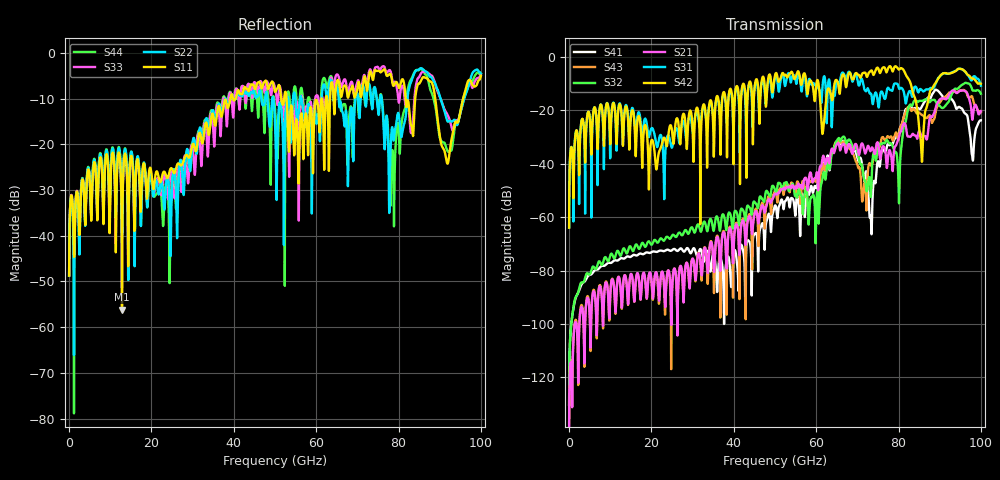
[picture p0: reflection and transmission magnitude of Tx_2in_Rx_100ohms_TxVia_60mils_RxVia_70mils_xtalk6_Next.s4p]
! Info: Touchstone file created by Circ.  Input file=Tx_2in_Rx_100ohms_TxVia_60mils_RxVia_70mils.circ
# Hz S RI R 50
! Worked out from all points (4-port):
!   10000 points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, 10 MHz to 100 GHz, reference 50 ohm
!   strongest paths, dB at 10 MHz, 25.01 GHz, 50.01 GHz, 75.01 GHz, 100 GHz:
!     S42: -63.9, -27.8, -6.9, -4.2, -10.0
!     S31: -63.9, -33.9, -7.9, -17.5, -10.8
!     S21: -139.2, -87.8, -51.2, -32.2, -20.3
!     S32: -130.3, -66.9, -50.0, -34.2, -13.8
!     S43: -137.2, -86.6, -49.9, -33.0, -20.7
!     S41: -130.3, -72.4, -55.7, -39.1, -23.7
!   lowest |S11| = -56.1 dB at 12.85 GHz (marker M1), VSWR 1.00, Z = 49.9 - j0.0736 ohm
!   |S11| at or under -10 dB: start of sweep to 39.16 GHz; 52.8 GHz to 61.3 GHz (8.506 GHz wide, 14.9 % of centre); 88.92 GHz to 95.7 GHz (6.786 GHz wide, 7.35 % of centre) (the widest 3 of 9)
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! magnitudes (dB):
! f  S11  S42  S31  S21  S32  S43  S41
! 10 MHz  -48.7  -63.9  -63.9  -139.2  -130.3  -137.2  -130.3
! 12.85 GHz  -56.1  -24.4  -24.6  -93.3  -73.2  -93.6  -75.4
! 39.4 GHz  -9.1  -12.8  -13.6  -65.9  -60.6  -65.3  -86.1
! 65.17 GHz  -6.0  -9.2  -9.4  -32.4  -31.0  -31.4  -31.6
! 73.23 GHz  -4.1  -5.3  -13.7  -35.2  -50.9  -40.3  -59.6
! 85.58 GHz  -5.9  -36.5  -12.3  -29.9  -16.5  -21.6  -18.8
! 100 GHz  -5.1  -10.0  -10.8  -20.3  -13.8  -20.7  -23.7
